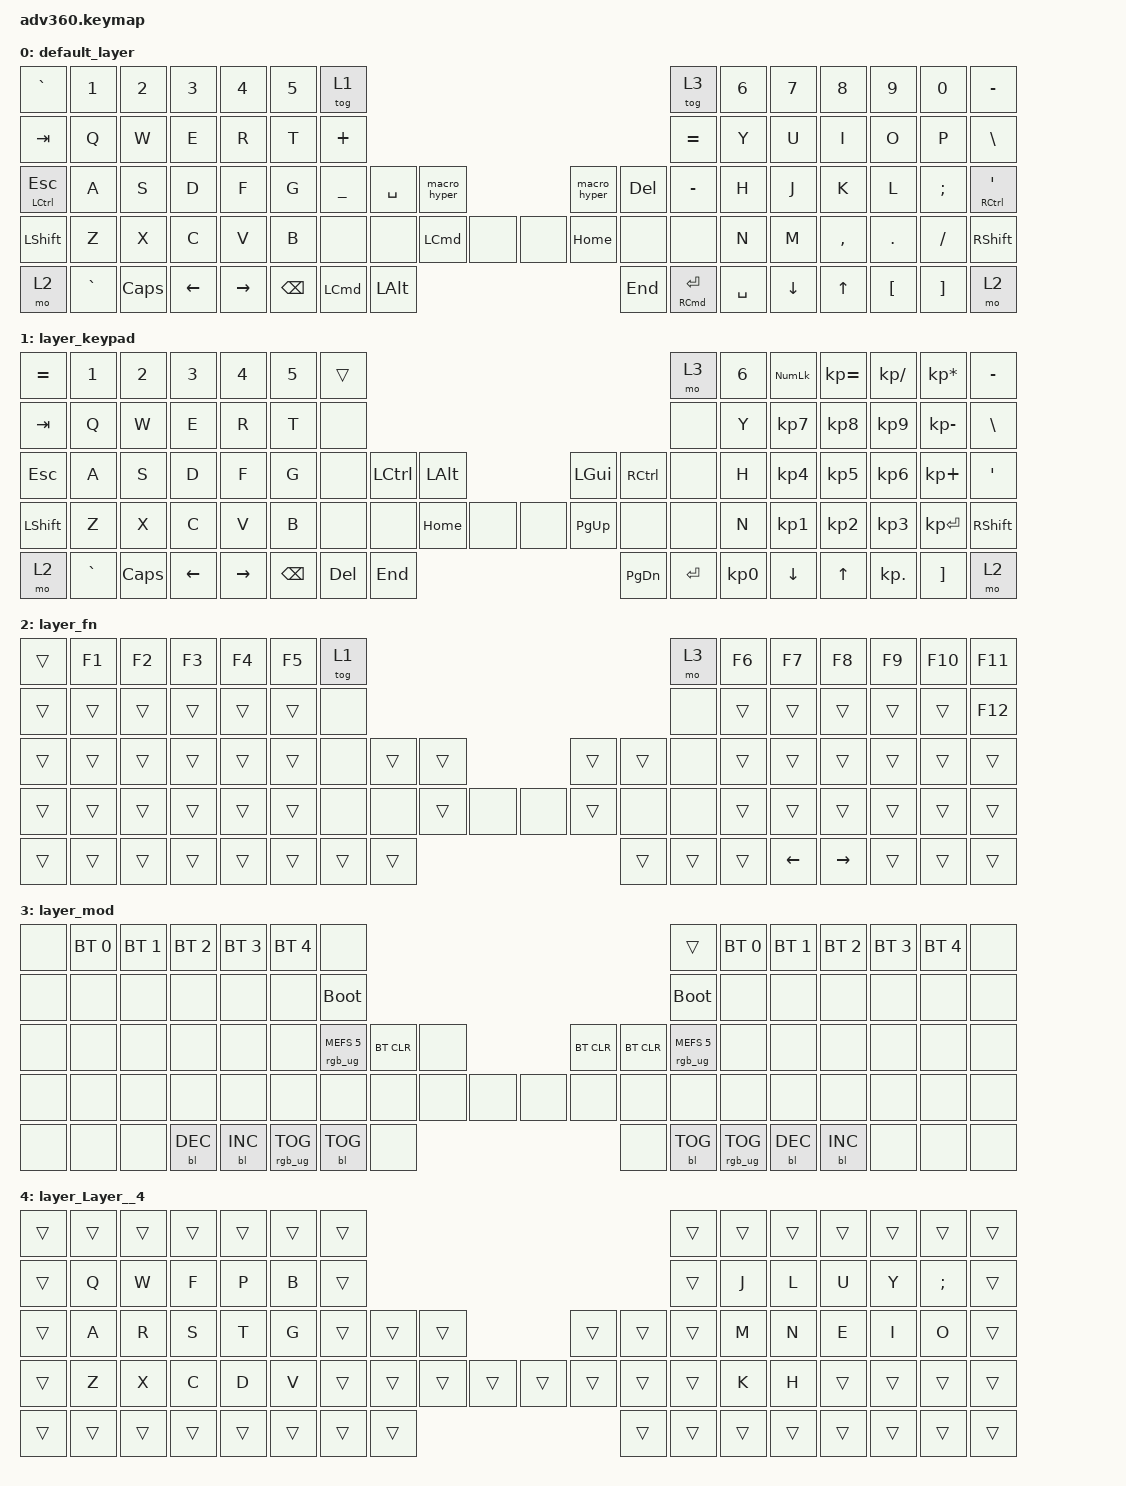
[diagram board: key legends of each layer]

/*
 * Copyright (c) 2020 The ZMK Contributors
 *
 * SPDX-License-Identifier: MIT
 */


/* THIS FILE WAS GENERATED!
 *
 * This file was generated automatically. You may or may not want to
 * edit it directly.
 */

#include <behaviors.dtsi>
#include <dt-bindings/zmk/keys.h>
#include <dt-bindings/zmk/bt.h>
#include <dt-bindings/zmk/rgb.h>
#include <dt-bindings/zmk/backlight.h>

/ {
  behaviors {
    #include "macros.dtsi"
    #include "version.dtsi"

    hm: homerow_mods {
        compatible = "zmk,behavior-hold-tap";
        label = "HOMEROW_MODS";
        #binding-cells = <2>;
        tapping-term-ms = <200>;
        quick_tap_ms = <175>;
        flavor = "tap-preferred";
        bindings = <&kp>, <&kp>;
    };
  };

    keymap {
        compatible = "zmk,keymap";


        default_layer {
            bindings = <
     &kp GRAVE     &kp N1    &kp N2    &kp N3     &kp N4  &kp N5               &tog 1                                                                                                &tog 3  &kp N6    &kp N7     &kp N8    &kp N9    &kp N0               &kp MINUS
       &kp TAB      &kp Q     &kp W     &kp E      &kp R   &kp T             &kp PLUS                                                                                             &kp EQUAL   &kp Y     &kp U      &kp I     &kp O     &kp P                &kp BSLH
 &mt LCTRL ESC      &kp A     &kp S     &kp D      &kp F   &kp G            &kp UNDER         &kp SPACE      &macro_hyper                  &macro_hyper                  &kp DEL  &kp MINUS   &kp H     &kp J      &kp K     &kp L  &kp SEMI  &mt RCTRL SINGLE_QUOTE
     &kp LSHFT      &kp Z     &kp X     &kp C      &kp V   &kp B                &none             &none  &kp LEFT_COMMAND   &none   &none      &kp HOME                    &none      &none   &kp N     &kp M  &kp COMMA   &kp DOT  &kp FSLH               &kp RSHFT
         &mo 2  &kp GRAVE  &kp CAPS  &kp LEFT  &kp RIGHT                     &kp BSPC  &kp LEFT_COMMAND      &kp LEFT_ALT                       &kp END  &mt RIGHT_COMMAND ENTER  &kp SPACE          &kp DOWN     &kp UP  &kp LBKT  &kp RBKT                   &mo 2
            >;
        };

        layer_keypad {
            bindings = <
 &kp EQUAL     &kp N1    &kp N2    &kp N3     &kp N4  &kp N5              &trans                                                                 &mo 3  &kp N6  &kp KP_NUM  &kp KP_EQUAL  &kp KP_DIVIDE  &kp KP_MULTIPLY  &kp MINUS
   &kp TAB      &kp Q     &kp W     &kp E      &kp R   &kp T               &none                                                                 &none   &kp Y   &kp KP_N7     &kp KP_N8      &kp KP_N9     &kp KP_MINUS   &kp BSLH
   &kp ESC      &kp A     &kp S     &kp D      &kp F   &kp G               &none  &kp LCTRL  &kp LALT                   &kp LGUI  &kp RCTRL      &none   &kp H   &kp KP_N4     &kp KP_N5      &kp KP_N6      &kp KP_PLUS    &kp SQT
 &kp LSHFT      &kp Z     &kp X     &kp C      &kp V   &kp B               &none      &none  &kp HOME   &none   &none  &kp PG_UP      &none      &none   &kp N   &kp KP_N1     &kp KP_N2      &kp KP_N3     &kp KP_ENTER  &kp RSHFT
     &mo 2  &kp GRAVE  &kp CAPS  &kp LEFT  &kp RIGHT                    &kp BSPC    &kp DEL   &kp END                  &kp PG_DN  &kp ENTER  &kp KP_N0            &kp DOWN        &kp UP     &kp KP_DOT         &kp RBKT      &mo 2
            >;
        };

        layer_fn {
            bindings = <
 &trans  &kp F1  &kp F2  &kp F3  &kp F4  &kp F5            &tog 1                                                   &mo 3  &kp F6          &kp F7           &kp F8  &kp F9  &kp F10  &kp F11
 &trans  &trans  &trans  &trans  &trans  &trans             &none                                                   &none  &trans          &trans           &trans  &trans   &trans  &kp F12
 &trans  &trans  &trans  &trans  &trans  &trans             &none  &trans  &trans                  &trans  &trans   &none  &trans          &trans           &trans  &trans   &trans   &trans
 &trans  &trans  &trans  &trans  &trans  &trans             &none   &none  &trans   &none   &none  &trans   &none   &none  &trans          &trans           &trans  &trans   &trans   &trans
 &trans  &trans  &trans  &trans  &trans                    &trans  &trans  &trans                  &trans  &trans  &trans          &kp LEFT_ARROW  &kp RIGHT_ARROW  &trans   &trans   &trans
            >;
        };

        layer_mod {
            bindings = <
  &none  &bt BT_SEL 0  &bt BT_SEL 1  &bt BT_SEL 2  &bt BT_SEL 3  &bt BT_SEL 4                             &none                                                                              &trans  &bt BT_SEL 0  &bt BT_SEL 1  &bt BT_SEL 2  &bt BT_SEL 3  &bt BT_SEL 4   &none
  &none         &none         &none         &none         &none         &none                       &bootloader                                                                         &bootloader         &none         &none         &none         &none         &none   &none
  &none         &none         &none         &none         &none         &none            &rgb_ug RGB_MEFS_CMD 5  &bt BT_CLR   &none                  &bt BT_CLR  &bt BT_CLR  &rgb_ug RGB_MEFS_CMD 5         &none         &none         &none         &none         &none   &none
  &none         &none         &none         &none         &none         &none                             &none       &none   &none   &none   &none       &none       &none                   &none         &none         &none         &none         &none         &none   &none
  &none         &none         &none    &bl BL_DEC    &bl BL_INC                                 &rgb_ug RGB_TOG  &bl BL_TOG   &none                       &none  &bl BL_TOG         &rgb_ug RGB_TOG                  &bl BL_DEC    &bl BL_INC         &none         &none   &none
            >;
        };

        layer_Layer__4 {
            bindings = <
 &trans  &trans  &trans  &trans  &trans  &trans            &trans                                                  &trans  &trans  &trans  &trans  &trans         &trans  &trans
 &trans   &kp Q   &kp W   &kp F   &kp P   &kp B            &trans                                                  &trans   &kp J   &kp L   &kp U   &kp Y  &kp SEMICOLON  &trans
 &trans   &kp A   &kp R   &kp S   &kp T   &kp G            &trans  &trans  &trans                  &trans  &trans  &trans   &kp M   &kp N   &kp E   &kp I          &kp O  &trans
 &trans   &kp Z   &kp X   &kp C   &kp D   &kp V            &trans  &trans  &trans  &trans  &trans  &trans  &trans  &trans   &kp K   &kp H  &trans  &trans         &trans  &trans
 &trans  &trans  &trans  &trans  &trans                    &trans  &trans  &trans                  &trans  &trans  &trans          &trans  &trans  &trans         &trans  &trans
            >;
        };

    };
};
